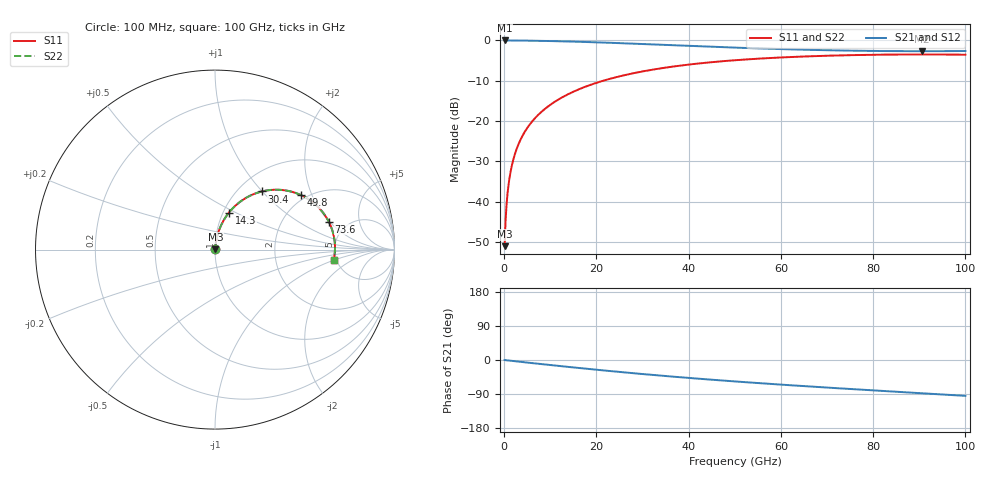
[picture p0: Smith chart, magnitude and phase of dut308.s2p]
! Touchstone file exported from HFSS 2026.1.0
!  File:  C:/ffzhzh/LocalFiles/Ansys_Project_Files/temp_train_RDL_308_1783502479_44152.aedt
!  Generated:  05:22:34 PM Jul  8, 2026
!  Design:  RDL
!  Project:  temp_train_RDL_308_1783502479_44152
! Variables:
!  h_bsmrdl = 2um
!  h_ox = 20um
!  h_rdl = 5um
!  h_sub = 80um
!  h_tmrdl = 4.84um
!  h_tsv = 80um
!  h_via = 3um
!  l_bsmrdl = 300um
!  l_sub = 718.74um
!  l_tmrdl = 318.74um
!  m_sub = 200um
!  pitch = 42.2um
!  r_tsv = 6um
!  s_tmrdl = 10um
!  w_bsmrdl = 18um
!  w_sub = 500um
!  w_tmrdl = 10.99um
!  x_tsv_center1 = 324.235um
!  x_tsv_center2 = 642.235um
!  x_tsv_center3 = 971.965um
!  x_tsv_center4 = 1289.965um
!  x_tsv_center5 = 1619.695um
!  x_tsv_center6 = 1937.695um
# GHz S MA R 50.000000
! Terminal data exported
! Port[1] = TM_RDL1_1_T1
! Port[2] = TM_RDL1_1_T2
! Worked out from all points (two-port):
!   1000 points, 100 MHz to 100 GHz, reference 50 ohm
!   highest |S21| = -0.02 dB at 100 MHz (marker M1); lowest = -2.7 dB at 90.6 GHz (marker M2)
!   |S21| within 3 dB of the highest: start of sweep to end of sweep
!   lowest |S11| = -51.1 dB at 100 MHz (marker M3), VSWR 1.01, Z = 50.2 + j0.173 ohm
!   |S11| at or under -10 dB: start of sweep to 21.53 GHz
!   |S22| runs from -51.1 to -3.5 dB; largest |S21 - S12| = 5.3e-15
!   S11 on the Smith chart (normalised r, x): 100 MHz: 1.00, +0.00; 14.3 GHz: 1.07, +0.46; 30.4 GHz: 1.27, +0.99; 49.8 GHz: 1.85, +1.66; 73.6 GHz: 3.62, +1.97; 100 GHz: 4.73, -0.99
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0.1  0.00279 38.0  0.9978 -0.1  0.9978 -0.1  0.00279 38.0
! Gamma 0 0 0 0
! Port Impedance 50 0 50 0
0.4  0.007177 70.6  0.9977 -0.6  0.9977 -0.6  0.007177 70.6
0.8  0.01364 78.5  0.9974 -1.1  0.9974 -1.1  0.01364 78.5
1.3  0.02181 81.4  0.9972 -1.8  0.9972 -1.8  0.02181 81.4
1.7  0.02837 82.2  0.9969 -2.3  0.9969 -2.3  0.02837 82.2
2.2  0.03657 82.5  0.9965 -3.0  0.9965 -3.0  0.03657 82.5
3.5  0.0577 81.8  0.9949 -4.8  0.9949 -4.8  0.0577 81.8
5.3  0.08644 80.0  0.992 -7.2  0.992 -7.2  0.08644 80.0
7.7  0.1237 77.2  0.9869 -10.3  0.9869 -10.3  0.1237 77.2
10.7  0.1689 73.6  0.9791 -14.2  0.9791 -14.2  0.1689 73.6
14.3  0.2207 69.3  0.9678 -18.7  0.9678 -18.7  0.2207 69.3
16.8  0.2551 66.4  0.9588 -21.8  0.9588 -21.8  0.2551 66.4
23  0.3341 59.2  0.9334 -29.2  0.9334 -29.2  0.3341 59.2
30.4  0.4157 51.2  0.8997 -37.5  0.8997 -37.5  0.4156 51.2
33.4  0.4447 48.1  0.8856 -40.6  0.8856 -40.6  0.4447 48.1
49.8  0.5656 32.6  0.8143 -56.4  0.8143 -56.4  0.5656 32.7
50.1  0.5673 32.4  0.8131 -56.6  0.8131 -56.6  0.5673 32.4
66.7  0.636 19.0  0.7617 -70.2  0.7617 -70.2  0.6359 19.0
73.6  0.6525 13.8  0.7479 -75.5  0.7479 -75.5  0.6525 13.9
83.4  0.6659 6.7  0.7363 -82.6  0.7363 -82.6  0.6659 6.8
90.6  0.6688 1.6  0.7338 -87.8  0.7338 -87.8  0.6687 1.7
100  0.6638 -5.1  0.7382 -94.6  0.7382 -94.6  0.6637 -5.0
